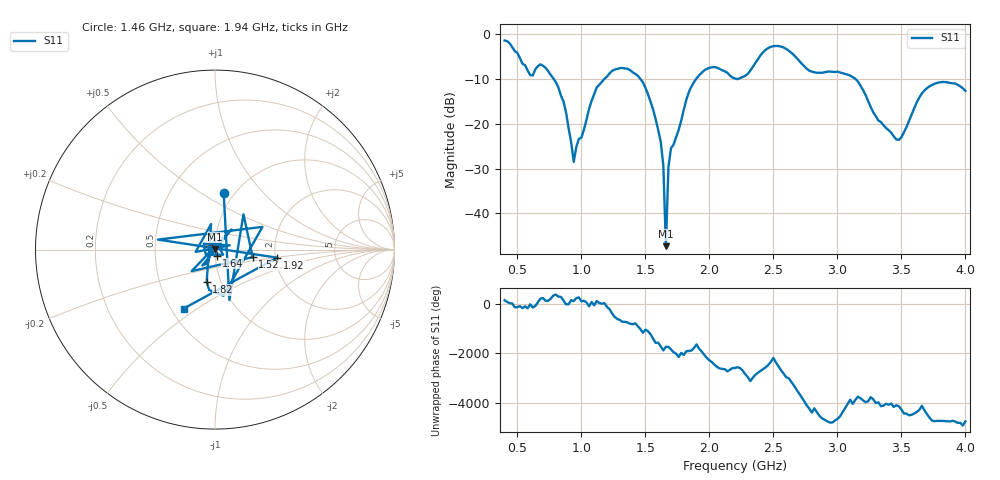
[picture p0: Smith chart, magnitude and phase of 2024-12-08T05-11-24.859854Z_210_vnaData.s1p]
!Created with skrf (http://scikit-rf.org).
# Hz S RI R 50.0
!freq ReS11 ImS11
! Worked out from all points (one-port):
!   181 points, 400 MHz to 4 GHz, reference 50 ohm
!   lowest |S11| = -47.4 dB at 1.66 GHz (marker M1), VSWR 1.01, Z = 50.1 + j0.411 ohm
!   |S11| at or under -10 dB: 784 MHz to 1.179 GHz (394.5 MHz wide, 40.2 % of centre); 1.461 GHz to 1.896 GHz (434.3 MHz wide, 25.9 % of centre); 3.143 GHz to end of sweep (the widest 3 of 4)
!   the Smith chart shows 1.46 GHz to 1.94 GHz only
!   S11 on the Smith chart (normalised r, x): 1.46 GHz: 0.89, +0.63; 1.52 GHz: 1.52, -0.13; 1.64 GHz: 1.02, -0.07; 1.82 GHz: 0.86, -0.32; 1.92 GHz: 2.04, -0.21; 1.94 GHz: 0.58, -0.44
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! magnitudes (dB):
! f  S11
! 400 MHz  -1.4
! 600 MHz  -9.1
! 720 MHz  -7.5
! 860 MHz  -15.0
! 940 MHz  -28.5
! 1.12 GHz  -11.8
! 1.3 GHz  -7.6
! 1.46 GHz  -9.9
! 1.52 GHz  -13.4
! 1.62 GHz  -24.0
! 1.64 GHz  -29.3
! 1.66 GHz  -47.4
! 1.68 GHz  -29.6
! 1.7 GHz  -25.5
! 1.76 GHz  -21.3
! 1.82 GHz  -14.6
! 1.92 GHz  -9.1
! 1.94 GHz  -8.6
! 2.04 GHz  -7.3
! 2.2 GHz  -9.9
! 2.48 GHz  -2.8
! 2.66 GHz  -4.6
! 2.8 GHz  -8.3
! 3.1 GHz  -9.2
! 3.46 GHz  -23.5
! 3.56 GHz  -19.3
! 3.72 GHz  -11.6
! 4 GHz  -12.6
